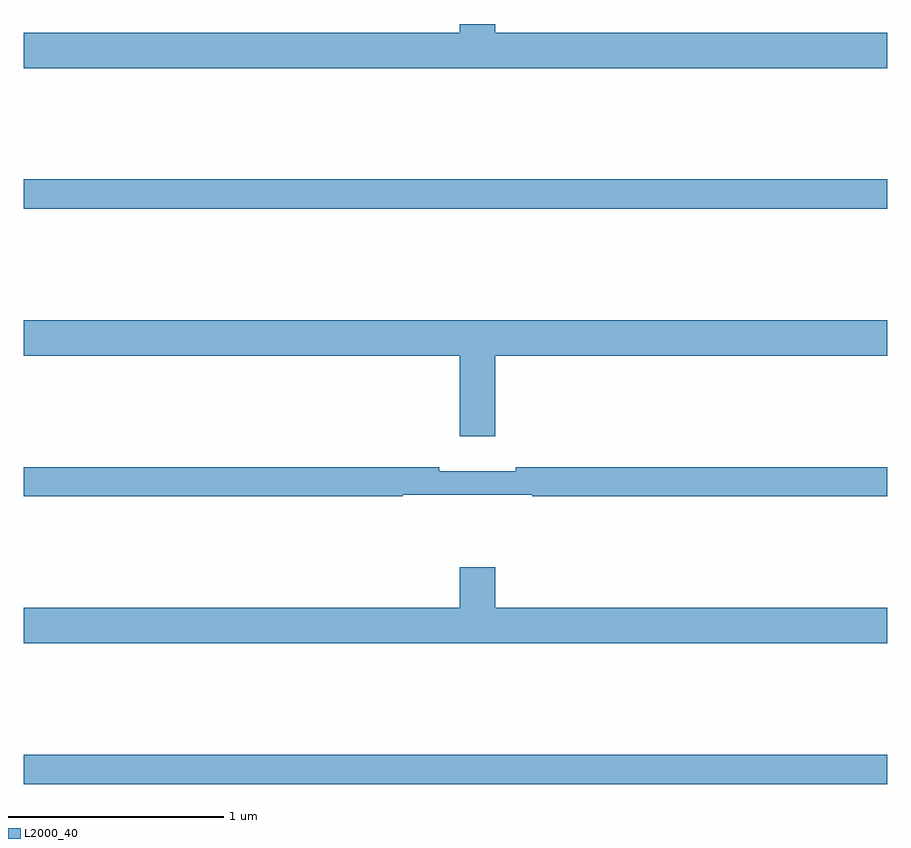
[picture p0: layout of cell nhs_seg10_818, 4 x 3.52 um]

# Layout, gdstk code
import gdstk
lib = gdstk.Library(unit=1e-6, precision=1e-09)
def R(c, l, rs):  # rectangles x0, y0, x1, y1
    for r in rs: c.add(gdstk.rectangle(r[:2], r[2:], *l))
def P(c, l, *ps):  # polygons
    for p in ps: c.add(gdstk.Polygon(p, *l))
L2000_40 = (2000, 40)

nhs_seg10_818 = lib.new_cell('nhs_seg10_818')
R(nhs_seg10_818, L2000_40, [(151,1316.98,155,1317.116), (151,1319.644,155,1319.78)])
P(nhs_seg10_818, L2000_40, [(155,1320.46),(153.184,1320.46),(153.184,1320.5),(153.02,1320.5),(153.02,1320.46),(151,1320.46),(151,1320.296),(155,1320.296)],
  [(153.184,1318.964),(155,1318.964),(155,1319.128),(151,1319.128),(151,1318.964),(153.02,1318.964),(153.02,1318.59),(153.184,1318.59)],
  [(152.755,1318.32),(153.355,1318.32),(153.355,1318.312),(155,1318.312),(155,1318.448),(153.28,1318.448),(153.28,1318.429),(152.924,1318.429),(152.924,1318.448),(151,1318.448),(151,1318.312),(152.755,1318.312)],
  [(155,1317.796),(153.184,1317.796),(153.184,1317.985),(153.02,1317.985),(153.02,1317.796),(151,1317.796),(151,1317.632),(155,1317.632)])

lib.write_gds('nhs_seg10_818.gds')
